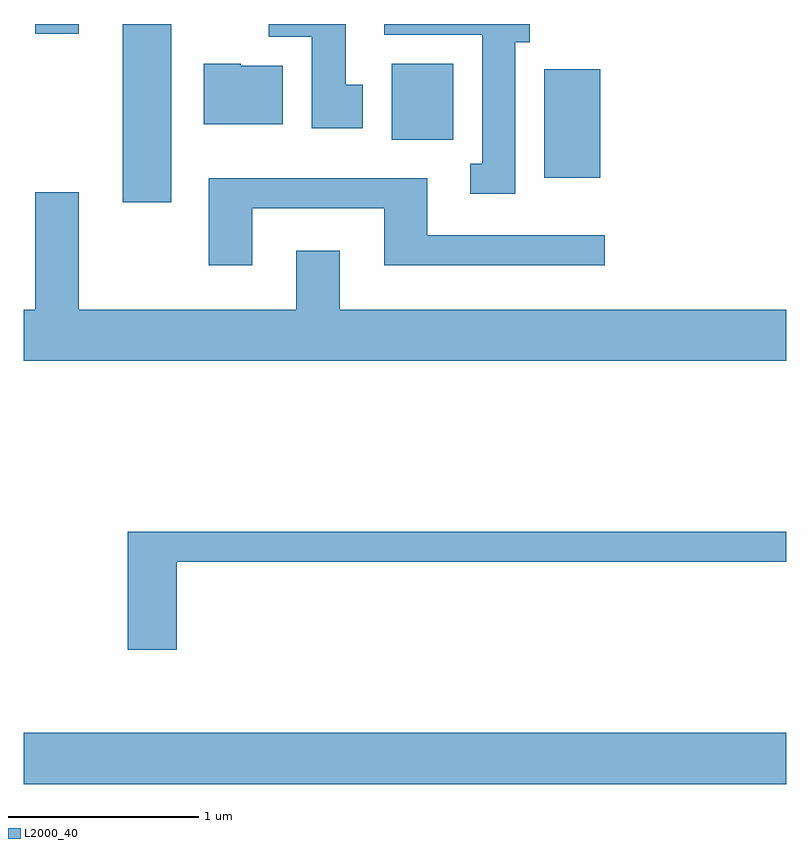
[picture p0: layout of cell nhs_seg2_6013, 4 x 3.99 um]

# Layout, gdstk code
import gdstk
lib = gdstk.Library(unit=1e-6, precision=1e-09)
def R(c, l, rs):  # rectangles x0, y0, x1, y1
    for r in rs: c.add(gdstk.rectangle(r[:2], r[2:], *l))
def P(c, l, *ps):  # polygons
    for p in ps: c.add(gdstk.Polygon(p, *l))
L2000_40 = (2000, 40)

nhs_seg2_6013 = lib.new_cell('nhs_seg2_6013')
R(nhs_seg2_6013, L2000_40, [(361.611,1103.816,365.611,1104.084), (362.131,1106.866,362.384,1107.802), (364.341,1106.996,364.634,1107.564), (363.541,1107.196,363.864,1107.594), (361.671,1107.751,361.899,1107.802)])
P(nhs_seg2_6013, L2000_40, [(364.189,1107.706),(364.264,1107.706),(364.264,1107.802),(363.501,1107.802),(363.501,1107.746),(364.016,1107.746),(364.016,1107.069),(363.953,1107.069),(363.953,1106.911),(364.189,1106.911)],
  [(363.389,1107.484),(363.299,1107.484),(363.299,1107.802),(362.896,1107.802),(362.896,1107.736),(363.121,1107.736),(363.121,1107.256),(363.389,1107.256)],
  [(362.969,1107.584),(362.75,1107.584),(362.75,1107.594),(362.556,1107.594),(362.556,1107.276),(362.969,1107.276)],
  [(362.809,1106.836),(363.501,1106.836),(363.501,1106.536),(364.658,1106.536),(364.658,1106.694),(363.729,1106.694),(363.729,1106.994),(362.581,1106.994),(362.581,1106.536),(362.809,1106.536)],
  [(365.611,1106.304),(363.269,1106.304),(363.269,1106.614),(363.041,1106.614),(363.041,1106.304),(361.899,1106.304),(361.899,1106.919),(361.671,1106.919),(361.671,1106.304),(361.611,1106.304),(361.611,1106.036),(365.611,1106.036)],
  [(362.414,1104.981),(365.611,1104.981),(365.611,1105.139),(362.156,1105.139),(362.156,1104.521),(362.414,1104.521)])

lib.write_gds('nhs_seg2_6013.gds')
